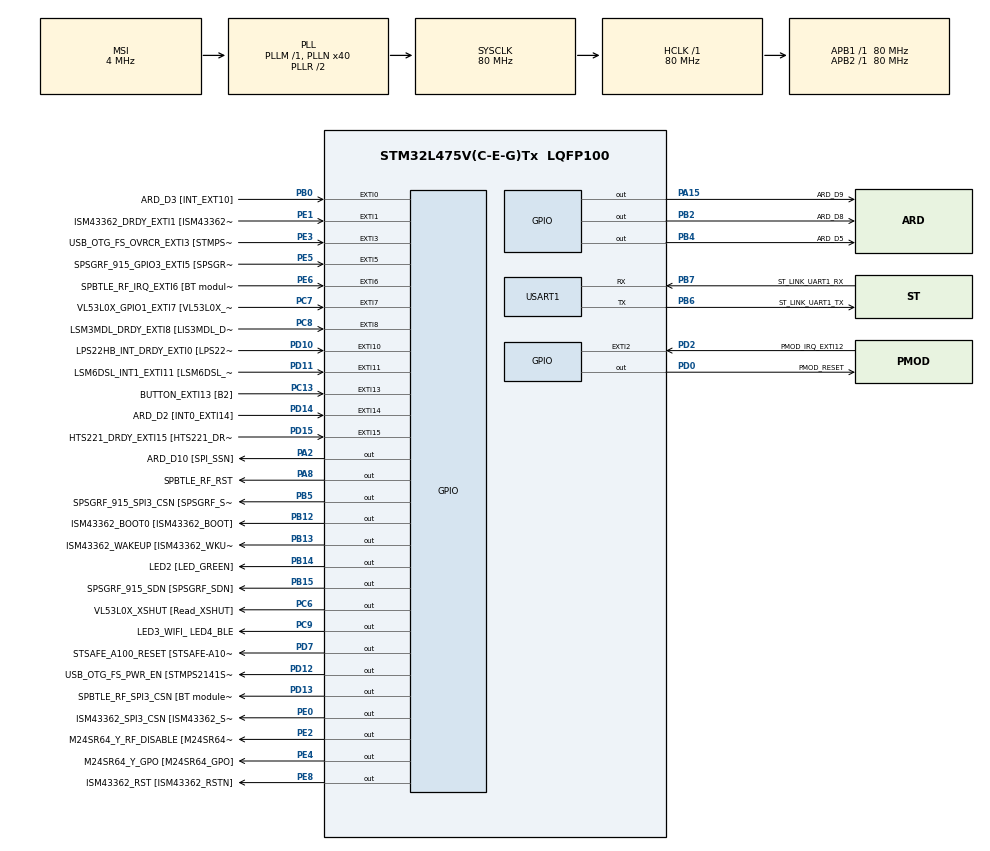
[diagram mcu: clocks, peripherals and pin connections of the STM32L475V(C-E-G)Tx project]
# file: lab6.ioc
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ADC1.Channel-0\#ChannelRegularConversion=ADC_CHANNEL_TEMPSENSOR
ADC1.ExternalTrigConv=ADC_EXTERNALTRIG_T1_TRGO
ADC1.NbrOfConversionFlag=1
ADC1.OffsetNumber-0\#ChannelRegularConversion=ADC_OFFSET_NONE
ADC1.Overrun=ADC_OVR_DATA_OVERWRITTEN
ADC1.Rank-0\#ChannelRegularConversion=1
ADC1.SamplingTime-0\#ChannelRegularConversion=ADC_SAMPLETIME_247CYCLES_5
ADC1.master=1
FREERTOS.Queues01=tempQueue,8,uint16_t,0,Dynamic,NULL,NULL
FREERTOS.Tasks01=TempTask,24,512,StartTempTask,Default,NULL,Dynamic,NULL,NULL
FREERTOS.configUSE_NEWLIB_REENTRANT=1
Mcu.Family=STM32L4
Mcu.Name=STM32L475V(C-E-G)Tx
Mcu.Package=LQFP100
NVIC.ADC1_2_IRQn=true\:5\:0\:false\:false\:true\:true\:true\:true\:true
NVIC.EXTI15_10_IRQn=true\:5\:0\:false\:false\:true\:true\:true\:true\:true
NVIC.EXTI9_5_IRQn=true\:5\:0\:false\:false\:true\:true\:true\:true\:true
NVIC.PriorityGroup=NVIC_PRIORITYGROUP_4
NVIC.TIM6_DAC_IRQn=true\:15\:0\:false\:false\:true\:false\:false\:true\:true
NVIC.TimeBase=TIM6_DAC_IRQn
NVIC.TimeBaseIP=TIM6
NVIC.USART1_IRQn=true\:5\:0\:false\:false\:true\:true\:true\:true\:true
PA0.GPIO_Label=ARD_D1 [UART4_TX]
PA0.Signal=UART4_TX
PA1.GPIO_Label=ARD_D0 [UART4_RX]
PA1.Signal=UART4_RX
PA10.GPIO_Label=USB_OTG_FS_ID
PA10.Signal=USB_OTG_FS_ID
PA11.GPIO_Label=USB_OTG_FS_DM
PA11.Signal=USB_OTG_FS_DM
PA12.GPIO_Label=USB_OTG_FS_DP
PA12.Signal=USB_OTG_FS_DP
PA13\ (JTMS-SWDIO).GPIO_Label=SYS_JTMS_SWDIO
PA13\ (JTMS-SWDIO).Mode=Serial_Wire
PA13\ (JTMS-SWDIO).Signal=SYS_JTMS-SWDIO
PA14\ (JTCK-SWCLK).GPIO_Label=SYS_JTCK_SWCLK
PA14\ (JTCK-SWCLK).Mode=Serial_Wire
PA14\ (JTCK-SWCLK).Signal=SYS_JTCK-SWCLK
PA15\ (JTDI).GPIO_Label=ARD_D9
PA15\ (JTDI).Signal=GPIO_Output
PA2.GPIO_Label=ARD_D10 [SPI_SSN]
PA2.Signal=GPIO_Output
PA3.GPIO_Label=ARD_D4
PA3.Signal=S_TIM2_CH4
PA4.GPIO_Label=ARD_D7
PA4.Signal=ADCx_IN9
PA5.GPIO_Label=ARD_D13 [SPI1_SCK]
PA5.Signal=SPI1_SCK
PA6.GPIO_Label=ARD_D12 [SPI1_MISO]
PA6.Signal=SPI1_MISO
PA7.GPIO_Label=ARD_D11 [SPI1_MOSI]
PA7.Signal=SPI1_MOSI
PA8.GPIO_Label=SPBTLE_RF_RST
PA8.Signal=GPIO_Output
PA9.GPIO_Label=USB_OTG_FS_VBUS [STMPS2141STR_OUT]
PA9.Signal=USB_OTG_FS_VBUS
PB0.GPIO_Label=ARD_D3 [INT_EXT10]
PB0.Signal=GPXTI0
PB1.GPIO_Label=ARD_D6 [ADC1_IN6]
PB1.Signal=ADCx_IN16
PB10.GPIO_Label=INTERNAL_I2C2_SCL [VL53L0X_SCL]
PB10.Signal=I2C2_SCL
PB11.GPIO_Label=INTERNAL_I2C2_SDA [VL53L0X_SDA]
PB11.Signal=I2C2_SDA
PB12.GPIO_Label=ISM43362_BOOT0 [ISM43362_BOOT]
PB12.Signal=GPIO_Output
PB13.GPIO_Label=ISM43362_WAKEUP [ISM43362_WKUP]
PB13.Signal=GPIO_Output
PB14.GPIO_Label=LED2 [LED_GREEN]
PB14.Signal=GPIO_Output
PB15.GPIO_Label=SPSGRF_915_SDN [SPSGRF_SDN]
PB15.Signal=GPIO_Output
PB2.GPIO_Label=ARD_D8
PB2.Signal=GPIO_Output
PB3\ (JTDO-TRACESWO).GPIO_Label=SYS_JTD0_SWO
PB3\ (JTDO-TRACESWO).Signal=SYS_JTDO-SWO
PB4\ (NJTRST).GPIO_Label=ARD_D5
PB4\ (NJTRST).Signal=GPIO_Output
PB5.GPIO_Label=SPSGRF_915_SPI3_CSN [SPSGRF_SPI_CS]
PB5.PinState=GPIO_PIN_SET
PB5.Signal=GPIO_Output
PB6.GPIO_Label=ST_LINK_UART1_TX
PB6.Mode=Asynchronous
PB6.Signal=USART1_TX
PB7.GPIO_Label=ST_LINK_UART1_RX
PB7.Mode=Asynchronous
PB7.Signal=USART1_RX
PB8.GPIO_Label=ARD_D15 [I2C1_SCL]
PB8.Signal=I2C1_SCL
PB9.GPIO_Label=ARD_D14 [I2C1_SDA]
PB9.Signal=I2C1_SDA
PC0.GPIO_Label=ARD_A5 [ADC]
PC0.Signal=ADCx_IN1
PC1.GPIO_Label=ARD_A4 [ADC]
PC1.Signal=ADCx_IN2
PC10.GPIO_Label=INTERNAL_SPI3_SCK [BT module_SPI_SCLK] [ISM43362_SCK]
PC10.Signal=SPI3_SCK
PC11.GPIO_Label=INTERNAL_SPI3_MISO [BT module_SPI_MISO] [ISM43362_MISO]
PC11.Signal=SPI3_MISO
PC12.GPIO_Label=INTERNAL_SPI3_MOSI [BT module_SPI_MOSI] [ISM43362_MOSI]
PC12.Signal=SPI3_MOSI
PC13.GPIO_Label=BUTTON_EXTI13 [B2]
PC13.GPIO_ModeDefaultEXTI=GPIO_MODE_IT_FALLING
PC13.Signal=GPXTI13
PC14-OSC32_IN\ (PC14).Signal=RCC_OSC32_IN
PC15-OSC32_OUT\ (PC15).Signal=RCC_OSC32_OUT
PC2.GPIO_Label=ARD_A3 [ADC]
PC2.Signal=ADCx_IN3
PC3.GPIO_Label=ARD_A2 [ADC]
PC3.Signal=ADCx_IN4
PC4.GPIO_Label=ARD_A1 [ADC]
PC4.Signal=ADCx_IN13
PC5.GPIO_Label=ARD_A0 [ADC]
PC5.Signal=ADCx_IN14
PC6.GPIO_Label=VL53L0X_XSHUT [Read_XSHUT]
PC6.Signal=GPIO_Output
PC7.GPIO_Label=VL53L0X_GPIO1_EXTI7 [VL53L0X_GPIO1]
PC7.Signal=GPXTI7
PC8.GPIO_Label=LSM3MDL_DRDY_EXTI8 [LIS3MDL_DRDY]
PC8.Signal=GPXTI8
PC9.GPIO_Label=LED3_WIFI_ LED4_BLE
PC9.Signal=GPIO_Output
PD0.GPIO_Label=PMOD_RESET
PD0.Signal=GPIO_Output
PD1.GPIO_Label=PMOD_SPI2_SCK
PD1.Signal=SPI2_SCK
PD10.GPIO_Label=LPS22HB_INT_DRDY_EXTI0 [LPS22HB_INT_DRDY] 
PD10.Signal=GPXTI10
PD11.GPIO_Label=LSM6DSL_INT1_EXTI11 [LSM6DSL_INT1]
PD11.Signal=GPXTI11
PD12.GPIO_Label=USB_OTG_FS_PWR_EN [STMPS2141STR_EN]
PD12.Signal=GPIO_Output
PD13.GPIO_Label=SPBTLE_RF_SPI3_CSN [BT module_SPI_CS]
PD13.PinState=GPIO_PIN_SET
PD13.Signal=GPIO_Output
PD14.GPIO_Label=ARD_D2 [INT0_EXTI14]
PD14.Signal=GPXTI14
PD15.GPIO_Label=HTS221_DRDY_EXTI15 [HTS221_DRDY]
PD15.Signal=GPXTI15
PD2.GPIO_Label=PMOD_IRQ_EXTI12
PD2.Signal=GPXTI2
PD3.GPIO_Label=PMOD_UART2_CTS
PD3.Signal=USART2_CTS
PD4.GPIO_Label=PMOD_UART2_RTS
PD4.Signal=USART2_RTS
PD5.GPIO_Label=PMOD_UART2_TX
PD5.Signal=USART2_TX
PD6.GPIO_Label=PMOD_UART2_RX
PD6.Signal=USART2_RX
PD7.GPIO_Label=STSAFE_A100_RESET [STSAFE-A100_RESET]
PD7.Signal=GPIO_Output
PD8.GPIO_Label=INTERNAL_UART3_TX [ISM43362_RX]
PD8.Signal=USART3_TX
PD9.GPIO_Label=INTERNAL_UART3_RX [ISM43362_TX]
PD9.Signal=USART3_RX
PE0.GPIO_Label=ISM43362_SPI3_CSN [ISM43362_SSN]
PE0.PinState=GPIO_PIN_SET
PE0.Signal=GPIO_Output
PE1.GPIO_Label=ISM43362_DRDY_EXTI1 [ISM43362_DATARDY]
PE1.Signal=GPXTI1
PE10.GPIO_Label=QUADSPI_CLK [MX25R6435F_SCLK]
PE10.Signal=QUADSPI_CLK
PE11.GPIO_Label=QUADSPI_NCS [MX25R6435F_SCLK]
PE11.Signal=QUADSPI_NCS
PE12.GPIO_Label=OQUADSPI_BK1_IO0 [MX25R6435F_IO0]
PE12.Signal=QUADSPI_BK1_IO0
PE13.GPIO_Label=QUADSPI_BK1_IO1 [MX25R6435F_IO1]
PE13.Signal=QUADSPI_BK1_IO1
PE14.GPIO_Label=QUAD_SPI_BK1_IO2 [MX25R6435F_IO2]
PE14.Signal=QUADSPI_BK1_IO2
PE15.GPIO_Label=QUAD_SPI_BK1_IO3 [MX25R6435F_IO3]
PE15.Signal=QUADSPI_BK1_IO3
PE2.GPIO_Label=M24SR64_Y_RF_DISABLE [M24SR64_RFDIS]
PE2.Signal=GPIO_Output
PE3.GPIO_Label=USB_OTG_FS_OVRCR_EXTI3 [STMPS2141STR_FAULT]
PE3.Signal=GPXTI3
PE4.GPIO_Label=M24SR64_Y_GPO [M24SR64_GPO]
PE4.Signal=GPIO_Output
PE5.GPIO_Label=SPSGRF_915_GPIO3_EXTI5 [SPSGRF_GPIO_3]
PE5.Signal=GPXTI5
PE6.GPIO_Label=SPBTLE_RF_IRQ_EXTI6 [BT module_SPI_IRQ]
PE6.Signal=GPXTI6
PE7.GPIO_Label=DFSDM1_DATIN2 [MP34DT01_DOUT]
PE7.Signal=S_DATAIN2DFSDM1
PE8.GPIO_Label=ISM43362_RST [ISM43362_RSTN]
PE8.Signal=GPIO_Output
PE9.GPIO_Label=DFSDM1_CKOUT [MP34DT01_CLK]
PE9.Signal=S_CKOUTDFSDM1
ProjectManager.HeapSize=0x200
ProjectManager.StackSize=0x400
ProjectManager.TargetToolchain=STM32CubeIDE
RCC.ADCFreq_Value=48000000
RCC.AHBFreq_Value=80000000
RCC.APB1Freq_Value=80000000
RCC.APB1TimFreq_Value=80000000
RCC.APB2Freq_Value=80000000
RCC.APB2TimFreq_Value=80000000
RCC.CortexFreq_Value=80000000
RCC.HCLKFreq_Value=80000000
RCC.HSE_VALUE=8000000
RCC.HSI_VALUE=16000000
RCC.LSE_VALUE=32768
RCC.MSI_VALUE=4000000
RCC.PLLN=40
RCC.PLLSAI1N=24
RCC.SYSCLKFreq_VALUE=80000000
RCC.SYSCLKSource=RCC_SYSCLKSOURCE_PLLCLK
RCC.USBFreq_Value=48000000
RCC.VCOOutputFreq_Value=160000000
SH.ADCx_IN1.0=ADC1_IN1
SH.ADCx_IN13.0=ADC1_IN13
SH.ADCx_IN14.0=ADC1_IN14
SH.ADCx_IN16.0=ADC1_IN16
SH.ADCx_IN2.0=ADC1_IN2
SH.ADCx_IN3.0=ADC1_IN3
SH.ADCx_IN4.0=ADC1_IN4
SH.ADCx_IN9.0=ADC1_IN9
SH.S_CKOUTDFSDM1.0=DFSDM1_CKOUT
SH.S_DATAIN2DFSDM1.0=DFSDM1_DATIN2
SH.S_TIM2_CH4.0=TIM2_CH4
TIM1.Period=39999
TIM1.Prescaler=1999
TIM1.TIM_MasterOutputTrigger=TIM_TRGO_UPDATE
TIM1.TIM_MasterOutputTrigger2=TIM_TRGO2_UPDATE
USART1.VirtualMode-Asynchronous=VM_ASYNC
VP_ADC1_TempSens_Input.Mode=IN-TempSens
VP_FREERTOS_VS_CMSIS_V2.Mode=CMSIS_V2
VP_SYS_VS_tim6.Mode=TIM6
VP_TIM1_VS_ClockSourceINT.Mode=Internal
board=B-L475E-IOT01A1

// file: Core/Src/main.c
/* USER CODE BEGIN Header */
/**
  ******************************************************************************
  * @file           : main.c
  * @brief          : Main program body
  ******************************************************************************
  * @attention
  *
  * Copyright (c) 2026 STMicroelectronics.
  * All rights reserved.
  *
  * This software is licensed under terms that can be found in the LICENSE file
  * in the root directory of this software component.
  * If no LICENSE file comes with this software, it is provided AS-IS.
  *
  ******************************************************************************
  */
/* USER CODE END Header */
#include "main.h"
#include "cmsis_os.h"

/* USER CODE BEGIN Includes */
#include <stdio.h>
/* USER CODE END Includes */

ADC_HandleTypeDef hadc1;

TIM_HandleTypeDef htim1;

UART_HandleTypeDef huart1;

/* Definitions for TempTask */
osThreadId_t TempTaskHandle;
const osThreadAttr_t TempTask_attributes = {
  .name = "TempTask",
  .stack_size = 512 * 4,
  .priority = (osPriority_t) osPriorityNormal,
};
/* Definitions for tempQueue */
osMessageQueueId_t tempQueueHandle;
const osMessageQueueAttr_t tempQueue_attributes = {
  .name = "tempQueue"
};

void SystemClock_Config(void);
static void MX_GPIO_Init(void);
static void MX_ADC1_Init(void);
static void MX_TIM1_Init(void);
static void MX_USART1_UART_Init(void);
void StartTempTask(void *argument);

/* USER CODE BEGIN 0 */
int __io_putchar(int ch) {
	HAL_UART_Transmit(&huart1, (uint8_t*)&ch, 1, HAL_MAX_DELAY);
	return ch;
}
/* USER CODE END 0 */

int main(void)
{

  /* MCU Configuration--------------------------------------------------------*/

  /* Reset of all peripherals, Initializes the Flash interface and the Systick. */
  HAL_Init();

  /* Configure the system clock */
  SystemClock_Config();

  /* Initialize all configured peripherals */
  MX_GPIO_Init();
  MX_ADC1_Init();
  MX_TIM1_Init();
  MX_USART1_UART_Init();

  /* Init scheduler */
  osKernelInitialize();

  /* Create the queue(s) */
  /* creation of tempQueue */
  tempQueueHandle = osMessageQueueNew (8, sizeof(uint16_t), &tempQueue_attributes);

  /* Create the thread(s) */
  /* creation of TempTask */
  TempTaskHandle = osThreadNew(StartTempTask, NULL, &TempTask_attributes);

  /* Start scheduler */
  osKernelStart();

  /* We should never get here as control is now taken by the scheduler */

  /* Infinite loop */
  while (1)
  {

  }
}

void SystemClock_Config(void)
{
  RCC_OscInitTypeDef RCC_OscInitStruct = {0};
  RCC_ClkInitTypeDef RCC_ClkInitStruct = {0};

  /** Configure the main internal regulator output voltage
  */
  if (HAL_PWREx_ControlVoltageScaling(PWR_REGULATOR_VOLTAGE_SCALE1) != HAL_OK)
  {
    Error_Handler();
  }

  /** Initializes the RCC Oscillators according to the specified parameters
  * in the RCC_OscInitTypeDef structure.
  */
  RCC_OscInitStruct.OscillatorType = RCC_OSCILLATORTYPE_MSI;
  RCC_OscInitStruct.MSIState = RCC_MSI_ON;
  RCC_OscInitStruct.MSICalibrationValue = 0;
  RCC_OscInitStruct.MSIClockRange = RCC_MSIRANGE_6;
  RCC_OscInitStruct.PLL.PLLState = RCC_PLL_ON;
  RCC_OscInitStruct.PLL.PLLSource = RCC_PLLSOURCE_MSI;
  RCC_OscInitStruct.PLL.PLLM = 1;
  RCC_OscInitStruct.PLL.PLLN = 40;
  RCC_OscInitStruct.PLL.PLLP = RCC_PLLP_DIV7;
  RCC_OscInitStruct.PLL.PLLQ = RCC_PLLQ_DIV2;
  RCC_OscInitStruct.PLL.PLLR = RCC_PLLR_DIV2;
  if (HAL_RCC_OscConfig(&RCC_OscInitStruct) != HAL_OK)
  {
    Error_Handler();
  }

  /** Initializes the CPU, AHB and APB buses clocks
  */
  RCC_ClkInitStruct.ClockType = RCC_CLOCKTYPE_HCLK|RCC_CLOCKTYPE_SYSCLK
                              |RCC_CLOCKTYPE_PCLK1|RCC_CLOCKTYPE_PCLK2;
  RCC_ClkInitStruct.SYSCLKSource = RCC_SYSCLKSOURCE_PLLCLK;
  RCC_ClkInitStruct.AHBCLKDivider = RCC_SYSCLK_DIV1;
  RCC_ClkInitStruct.APB1CLKDivider = RCC_HCLK_DIV1;
  RCC_ClkInitStruct.APB2CLKDivider = RCC_HCLK_DIV1;

  if (HAL_RCC_ClockConfig(&RCC_ClkInitStruct, FLASH_LATENCY_4) != HAL_OK)
  {
    Error_Handler();
  }
}

static void MX_ADC1_Init(void)
{

  ADC_MultiModeTypeDef multimode = {0};
  ADC_ChannelConfTypeDef sConfig = {0};

  /** Common config
  */
  hadc1.Instance = ADC1;
  hadc1.Init.ClockPrescaler = ADC_CLOCK_ASYNC_DIV1;
  hadc1.Init.Resolution = ADC_RESOLUTION_12B;
  hadc1.Init.DataAlign = ADC_DATAALIGN_RIGHT;
  hadc1.Init.ScanConvMode = ADC_SCAN_DISABLE;
  hadc1.Init.EOCSelection = ADC_EOC_SINGLE_CONV;
  hadc1.Init.LowPowerAutoWait = DISABLE;
  hadc1.Init.ContinuousConvMode = DISABLE;
  hadc1.Init.NbrOfConversion = 1;
  hadc1.Init.DiscontinuousConvMode = DISABLE;
  hadc1.Init.ExternalTrigConv = ADC_EXTERNALTRIG_T1_TRGO;
  hadc1.Init.ExternalTrigConvEdge = ADC_EXTERNALTRIGCONVEDGE_RISING;
  hadc1.Init.DMAContinuousRequests = DISABLE;
  hadc1.Init.Overrun = ADC_OVR_DATA_OVERWRITTEN;
  hadc1.Init.OversamplingMode = DISABLE;
  if (HAL_ADC_Init(&hadc1) != HAL_OK)
  {
    Error_Handler();
  }

  /** Configure the ADC multi-mode
  */
  multimode.Mode = ADC_MODE_INDEPENDENT;
  if (HAL_ADCEx_MultiModeConfigChannel(&hadc1, &multimode) != HAL_OK)
  {
    Error_Handler();
  }

  /** Configure Regular Channel
  */
  sConfig.Channel = ADC_CHANNEL_TEMPSENSOR;
  sConfig.Rank = ADC_REGULAR_RANK_1;
  sConfig.SamplingTime = ADC_SAMPLETIME_247CYCLES_5;
  sConfig.SingleDiff = ADC_SINGLE_ENDED;
  sConfig.OffsetNumber = ADC_OFFSET_NONE;
  sConfig.Offset = 0;
  if (HAL_ADC_ConfigChannel(&hadc1, &sConfig) != HAL_OK)
  {
    Error_Handler();
  }

}

static void MX_TIM1_Init(void)
{

  TIM_ClockConfigTypeDef sClockSourceConfig = {0};
  TIM_MasterConfigTypeDef sMasterConfig = {0};

  htim1.Instance = TIM1;
  htim1.Init.Prescaler = 1999;
  htim1.Init.CounterMode = TIM_COUNTERMODE_UP;
  htim1.Init.Period = 39999;
  htim1.Init.ClockDivision = TIM_CLOCKDIVISION_DIV1;
  htim1.Init.RepetitionCounter = 0;
  htim1.Init.AutoReloadPreload = TIM_AUTORELOAD_PRELOAD_DISABLE;
  if (HAL_TIM_Base_Init(&htim1) != HAL_OK)
  {
    Error_Handler();
  }
  sClockSourceConfig.ClockSource = TIM_CLOCKSOURCE_INTERNAL;
  if (HAL_TIM_ConfigClockSource(&htim1, &sClockSourceConfig) != HAL_OK)
  {
    Error_Handler();
  }
  sMasterConfig.MasterOutputTrigger = TIM_TRGO_UPDATE;
  sMasterConfig.MasterOutputTrigger2 = TIM_TRGO2_UPDATE;
  sMasterConfig.MasterSlaveMode = TIM_MASTERSLAVEMODE_DISABLE;
  if (HAL_TIMEx_MasterConfigSynchronization(&htim1, &sMasterConfig) != HAL_OK)
  {
    Error_Handler();
  }

}

static void MX_USART1_UART_Init(void)
{

  huart1.Instance = USART1;
  huart1.Init.BaudRate = 115200;
  huart1.Init.WordLength = UART_WORDLENGTH_8B;
  huart1.Init.StopBits = UART_STOPBITS_1;
  huart1.Init.Parity = UART_PARITY_NONE;
  huart1.Init.Mode = UART_MODE_TX_RX;
  huart1.Init.HwFlowCtl = UART_HWCONTROL_NONE;
  huart1.Init.OverSampling = UART_OVERSAMPLING_16;
  huart1.Init.OneBitSampling = UART_ONE_BIT_SAMPLE_DISABLE;
  huart1.AdvancedInit.AdvFeatureInit = UART_ADVFEATURE_NO_INIT;
  if (HAL_UART_Init(&huart1) != HAL_OK)
  {
    Error_Handler();
  }

}

static void MX_GPIO_Init(void)
{
  GPIO_InitTypeDef GPIO_InitStruct = {0};

  /* GPIO Ports Clock Enable */
  __HAL_RCC_GPIOE_CLK_ENABLE();
  __HAL_RCC_GPIOC_CLK_ENABLE();
  __HAL_RCC_GPIOA_CLK_ENABLE();
  __HAL_RCC_GPIOB_CLK_ENABLE();
  __HAL_RCC_GPIOD_CLK_ENABLE();

  /*Configure GPIO pin Output Level */
  HAL_GPIO_WritePin(GPIOE, M24SR64_Y_RF_DISABLE_Pin|M24SR64_Y_GPO_Pin|ISM43362_RST_Pin, GPIO_PIN_RESET);

  /*Configure GPIO pin Output Level */
  HAL_GPIO_WritePin(GPIOA, ARD_D10_Pin|SPBTLE_RF_RST_Pin|ARD_D9_Pin, GPIO_PIN_RESET);

  /*Configure GPIO pin Output Level */
  HAL_GPIO_WritePin(GPIOB, ARD_D8_Pin|ISM43362_BOOT0_Pin|ISM43362_WAKEUP_Pin|LED2_Pin
                          |SPSGRF_915_SDN_Pin|ARD_D5_Pin, GPIO_PIN_RESET);

  /*Configure GPIO pin Output Level */
  HAL_GPIO_WritePin(GPIOD, USB_OTG_FS_PWR_EN_Pin|PMOD_RESET_Pin|STSAFE_A100_RESET_Pin, GPIO_PIN_RESET);

  /*Configure GPIO pin Output Level */
  HAL_GPIO_WritePin(SPBTLE_RF_SPI3_CSN_GPIO_Port, SPBTLE_RF_SPI3_CSN_Pin, GPIO_PIN_SET);

  /*Configure GPIO pin Output Level */
  HAL_GPIO_WritePin(GPIOC, VL53L0X_XSHUT_Pin|LED3_WIFI__LED4_BLE_Pin, GPIO_PIN_RESET);

  /*Configure GPIO pin Output Level */
  HAL_GPIO_WritePin(SPSGRF_915_SPI3_CSN_GPIO_Port, SPSGRF_915_SPI3_CSN_Pin, GPIO_PIN_SET);

  /*Configure GPIO pin Output Level */
  HAL_GPIO_WritePin(ISM43362_SPI3_CSN_GPIO_Port, ISM43362_SPI3_CSN_Pin, GPIO_PIN_SET);

  /*Configure GPIO pins : M24SR64_Y_RF_DISABLE_Pin M24SR64_Y_GPO_Pin ISM43362_RST_Pin ISM43362_SPI3_CSN_Pin */
  GPIO_InitStruct.Pin = M24SR64_Y_RF_DISABLE_Pin|M24SR64_Y_GPO_Pin|ISM43362_RST_Pin|ISM43362_SPI3_CSN_Pin;
  GPIO_InitStruct.Mode = GPIO_MODE_OUTPUT_PP;
  GPIO_InitStruct.Pull = GPIO_NOPULL;
  GPIO_InitStruct.Speed = GPIO_SPEED_FREQ_LOW;
  HAL_GPIO_Init(GPIOE, &GPIO_InitStruct);

  /*Configure GPIO pins : USB_OTG_FS_OVRCR_EXTI3_Pin SPSGRF_915_GPIO3_EXTI5_Pin SPBTLE_RF_IRQ_EXTI6_Pin ISM43362_DRDY_EXTI1_Pin */
  GPIO_InitStruct.Pin = USB_OTG_FS_OVRCR_EXTI3_Pin|SPSGRF_915_GPIO3_EXTI5_Pin|SPBTLE_RF_IRQ_EXTI6_Pin|ISM43362_DRDY_EXTI1_Pin;
  GPIO_InitStruct.Mode = GPIO_MODE_IT_RISING;
  GPIO_InitStruct.Pull = GPIO_NOPULL;
  HAL_GPIO_Init(GPIOE, &GPIO_InitStruct);

  /*Configure GPIO pin : BUTTON_EXTI13_Pin */
  GPIO_InitStruct.Pin = BUTTON_EXTI13_Pin;
  GPIO_InitStruct.Mode = GPIO_MODE_IT_FALLING;
  GPIO_InitStruct.Pull = GPIO_NOPULL;
  HAL_GPIO_Init(BUTTON_EXTI13_GPIO_Port, &GPIO_InitStruct);

  /*Configure GPIO pins : ARD_D1_Pin ARD_D0_Pin */
  GPIO_InitStruct.Pin = ARD_D1_Pin|ARD_D0_Pin;
  GPIO_InitStruct.Mode = GPIO_MODE_AF_PP;
  GPIO_InitStruct.Pull = GPIO_NOPULL;
  GPIO_InitStruct.Speed = GPIO_SPEED_FREQ_VERY_HIGH;
  GPIO_InitStruct.Alternate = GPIO_AF8_UART4;
  HAL_GPIO_Init(GPIOA, &GPIO_InitStruct);

  /*Configure GPIO pins : ARD_D10_Pin SPBTLE_RF_RST_Pin ARD_D9_Pin */
  GPIO_InitStruct.Pin = ARD_D10_Pin|SPBTLE_RF_RST_Pin|ARD_D9_Pin;
  GPIO_InitStruct.Mode = GPIO_MODE_OUTPUT_PP;
  GPIO_InitStruct.Pull = GPIO_NOPULL;
  GPIO_InitStruct.Speed = GPIO_SPEED_FREQ_LOW;
  HAL_GPIO_Init(GPIOA, &GPIO_InitStruct);

  /*Configure GPIO pin : ARD_D4_Pin */
  GPIO_InitStruct.Pin = ARD_D4_Pin;
  GPIO_InitStruct.Mode = GPIO_MODE_AF_PP;
  GPIO_InitStruct.Pull = GPIO_NOPULL;
  GPIO_InitStruct.Speed = GPIO_SPEED_FREQ_LOW;
  GPIO_InitStruct.Alternate = GPIO_AF1_TIM2;
  HAL_GPIO_Init(ARD_D4_GPIO_Port, &GPIO_InitStruct);

  /*Configure GPIO pins : ARD_D13_Pin ARD_D12_Pin ARD_D11_Pin */
  GPIO_InitStruct.Pin = ARD_D13_Pin|ARD_D12_Pin|ARD_D11_Pin;
  GPIO_InitStruct.Mode = GPIO_MODE_AF_PP;
  GPIO_InitStruct.Pull = GPIO_NOPULL;
  GPIO_InitStruct.Speed = GPIO_SPEED_FREQ_VERY_HIGH;
  GPIO_InitStruct.Alternate = GPIO_AF5_SPI1;
  HAL_GPIO_Init(GPIOA, &GPIO_InitStruct);

  /*Configure GPIO pin : ARD_D3_Pin */
  GPIO_InitStruct.Pin = ARD_D3_Pin;
  GPIO_InitStruct.Mode = GPIO_MODE_IT_RISING;
  GPIO_InitStruct.Pull = GPIO_NOPULL;
  HAL_GPIO_Init(ARD_D3_GPIO_Port, &GPIO_InitStruct);

  /*Configure GPIO pins : ARD_D8_Pin ISM43362_BOOT0_Pin ISM43362_WAKEUP_Pin LED2_Pin
                           SPSGRF_915_SDN_Pin ARD_D5_Pin SPSGRF_915_SPI3_CSN_Pin */
  GPIO_InitStruct.Pin = ARD_D8_Pin|ISM43362_BOOT0_Pin|ISM43362_WAKEUP_Pin|LED2_Pin
                          |SPSGRF_915_SDN_Pin|ARD_D5_Pin|SPSGRF_915_SPI3_CSN_Pin;
  GPIO_InitStruct.Mode = GPIO_MODE_OUTPUT_PP;
  GPIO_InitStruct.Pull = GPIO_NOPULL;
  GPIO_InitStruct.Speed = GPIO_SPEED_FREQ_LOW;
  HAL_GPIO_Init(GPIOB, &GPIO_InitStruct);

  /*Configure GPIO pins : DFSDM1_DATIN2_Pin DFSDM1_CKOUT_Pin */
  GPIO_InitStruct.Pin = DFSDM1_DATIN2_Pin|DFSDM1_CKOUT_Pin;
  GPIO_InitStruct.Mode = GPIO_MODE_AF_PP;
  GPIO_InitStruct.Pull = GPIO_NOPULL;
  GPIO_InitStruct.Speed = GPIO_SPEED_FREQ_LOW;
  GPIO_InitStruct.Alternate = GPIO_AF6_DFSDM1;
  HAL_GPIO_Init(GPIOE, &GPIO_InitStruct);

  /*Configure GPIO pins : QUADSPI_CLK_Pin QUADSPI_NCS_Pin OQUADSPI_BK1_IO0_Pin QUADSPI_BK1_IO1_Pin
                           QUAD_SPI_BK1_IO2_Pin QUAD_SPI_BK1_IO3_Pin */
  GPIO_InitStruct.Pin = QUADSPI_CLK_Pin|QUADSPI_NCS_Pin|OQUADSPI_BK1_IO0_Pin|QUADSPI_BK1_IO1_Pin
                          |QUAD_SPI_BK1_IO2_Pin|QUAD_SPI_BK1_IO3_Pin;
  GPIO_InitStruct.Mode = GPIO_MODE_AF_PP;
  GPIO_InitStruct.Pull = GPIO_NOPULL;
  GPIO_InitStruct.Speed = GPIO_SPEED_FREQ_VERY_HIGH;
  GPIO_InitStruct.Alternate = GPIO_AF10_QUADSPI;
  HAL_GPIO_Init(GPIOE, &GPIO_InitStruct);

  /*Configure GPIO pins : INTERNAL_I2C2_SCL_Pin INTERNAL_I2C2_SDA_Pin */
  GPIO_InitStruct.Pin = INTERNAL_I2C2_SCL_Pin|INTERNAL_I2C2_SDA_Pin;
  GPIO_InitStruct.Mode = GPIO_MODE_AF_OD;
  GPIO_InitStruct.Pull = GPIO_NOPULL;
  GPIO_InitStruct.Speed = GPIO_SPEED_FREQ_VERY_HIGH;
  GPIO_InitStruct.Alternate = GPIO_AF4_I2C2;
  HAL_GPIO_Init(GPIOB, &GPIO_InitStruct);

  /*Configure GPIO pins : INTERNAL_UART3_TX_Pin INTERNAL_UART3_RX_Pin */
  GPIO_InitStruct.Pin = INTERNAL_UART3_TX_Pin|INTERNAL_UART3_RX_Pin;
  GPIO_InitStruct.Mode = GPIO_MODE_AF_PP;
  GPIO_InitStruct.Pull = GPIO_NOPULL;
  GPIO_InitStruct.Speed = GPIO_SPEED_FREQ_VERY_HIGH;
  GPIO_InitStruct.Alternate = GPIO_AF7_USART3;
  HAL_GPIO_Init(GPIOD, &GPIO_InitStruct);

  /*Configure GPIO pins : LPS22HB_INT_DRDY_EXTI0_Pin LSM6DSL_INT1_EXTI11_Pin ARD_D2_Pin HTS221_DRDY_EXTI15_Pin
                           PMOD_IRQ_EXTI12_Pin */
  GPIO_InitStruct.Pin = LPS22HB_INT_DRDY_EXTI0_Pin|LSM6DSL_INT1_EXTI11_Pin|ARD_D2_Pin|HTS221_DRDY_EXTI15_Pin
                          |PMOD_IRQ_EXTI12_Pin;
  GPIO_InitStruct.Mode = GPIO_MODE_IT_RISING;
  GPIO_InitStruct.Pull = GPIO_NOPULL;
  HAL_GPIO_Init(GPIOD, &GPIO_InitStruct);

  /*Configure GPIO pins : USB_OTG_FS_PWR_EN_Pin SPBTLE_RF_SPI3_CSN_Pin PMOD_RESET_Pin STSAFE_A100_RESET_Pin */
  GPIO_InitStruct.Pin = USB_OTG_FS_PWR_EN_Pin|SPBTLE_RF_SPI3_CSN_Pin|PMOD_RESET_Pin|STSAFE_A100_RESET_Pin;
  GPIO_InitStruct.Mode = GPIO_MODE_OUTPUT_PP;
  GPIO_InitStruct.Pull = GPIO_NOPULL;
  GPIO_InitStruct.Speed = GPIO_SPEED_FREQ_LOW;
  HAL_GPIO_Init(GPIOD, &GPIO_InitStruct);

  /*Configure GPIO pins : VL53L0X_XSHUT_Pin LED3_WIFI__LED4_BLE_Pin */
  GPIO_InitStruct.Pin = VL53L0X_XSHUT_Pin|LED3_WIFI__LED4_BLE_Pin;
  GPIO_InitStruct.Mode = GPIO_MODE_OUTPUT_PP;
  GPIO_InitStruct.Pull = GPIO_NOPULL;
  GPIO_InitStruct.Speed = GPIO_SPEED_FREQ_LOW;
  HAL_GPIO_Init(GPIOC, &GPIO_InitStruct);

  /*Configure GPIO pins : VL53L0X_GPIO1_EXTI7_Pin LSM3MDL_DRDY_EXTI8_Pin */
  GPIO_InitStruct.Pin = VL53L0X_GPIO1_EXTI7_Pin|LSM3MDL_DRDY_EXTI8_Pin;
  GPIO_InitStruct.Mode = GPIO_MODE_IT_RISING;
  GPIO_InitStruct.Pull = GPIO_NOPULL;
  HAL_GPIO_Init(GPIOC, &GPIO_InitStruct);

  /*Configure GPIO pin : USB_OTG_FS_VBUS_Pin */
  GPIO_InitStruct.Pin = USB_OTG_FS_VBUS_Pin;
  GPIO_InitStruct.Mode = GPIO_MODE_INPUT;
  GPIO_InitStruct.Pull = GPIO_NOPULL;
  HAL_GPIO_Init(USB_OTG_FS_VBUS_GPIO_Port, &GPIO_InitStruct);

  /*Configure GPIO pins : USB_OTG_FS_ID_Pin USB_OTG_FS_DM_Pin USB_OTG_FS_DP_Pin */
  GPIO_InitStruct.Pin = USB_OTG_FS_ID_Pin|USB_OTG_FS_DM_Pin|USB_OTG_FS_DP_Pin;
  GPIO_InitStruct.Mode = GPIO_MODE_AF_PP;
  GPIO_InitStruct.Pull = GPIO_NOPULL;
  GPIO_InitStruct.Speed = GPIO_SPEED_FREQ_VERY_HIGH;
  GPIO_InitStruct.Alternate = GPIO_AF10_OTG_FS;
  HAL_GPIO_Init(GPIOA, &GPIO_InitStruct);

  /*Configure GPIO pins : INTERNAL_SPI3_SCK_Pin INTERNAL_SPI3_MISO_Pin INTERNAL_SPI3_MOSI_Pin */
  GPIO_InitStruct.Pin = INTERNAL_SPI3_SCK_Pin|INTERNAL_SPI3_MISO_Pin|INTERNAL_SPI3_MOSI_Pin;
  GPIO_InitStruct.Mode = GPIO_MODE_AF_PP;
  GPIO_InitStruct.Pull = GPIO_NOPULL;
  GPIO_InitStruct.Speed = GPIO_SPEED_FREQ_VERY_HIGH;
  GPIO_InitStruct.Alternate = GPIO_AF6_SPI3;
  HAL_GPIO_Init(GPIOC, &GPIO_InitStruct);

  /*Configure GPIO pin : PMOD_SPI2_SCK_Pin */
  GPIO_InitStruct.Pin = PMOD_SPI2_SCK_Pin;
  GPIO_InitStruct.Mode = GPIO_MODE_AF_PP;
  GPIO_InitStruct.Pull = GPIO_NOPULL;
  GPIO_InitStruct.Speed = GPIO_SPEED_FREQ_VERY_HIGH;
  GPIO_InitStruct.Alternate = GPIO_AF5_SPI2;
  HAL_GPIO_Init(PMOD_SPI2_SCK_GPIO_Port, &GPIO_InitStruct);

  /*Configure GPIO pins : PMOD_UART2_CTS_Pin PMOD_UART2_RTS_Pin PMOD_UART2_TX_Pin PMOD_UART2_RX_Pin */
  GPIO_InitStruct.Pin = PMOD_UART2_CTS_Pin|PMOD_UART2_RTS_Pin|PMOD_UART2_TX_Pin|PMOD_UART2_RX_Pin;
  GPIO_InitStruct.Mode = GPIO_MODE_AF_PP;
  GPIO_InitStruct.Pull = GPIO_NOPULL;
  GPIO_InitStruct.Speed = GPIO_SPEED_FREQ_VERY_HIGH;
  GPIO_InitStruct.Alternate = GPIO_AF7_USART2;
  HAL_GPIO_Init(GPIOD, &GPIO_InitStruct);

  /*Configure GPIO pins : ARD_D15_Pin ARD_D14_Pin */
  GPIO_InitStruct.Pin = ARD_D15_Pin|ARD_D14_Pin;
  GPIO_InitStruct.Mode = GPIO_MODE_AF_OD;
  GPIO_InitStruct.Pull = GPIO_NOPULL;
  GPIO_InitStruct.Speed = GPIO_SPEED_FREQ_VERY_HIGH;
  GPIO_InitStruct.Alternate = GPIO_AF4_I2C1;
  HAL_GPIO_Init(GPIOB, &GPIO_InitStruct);

  /* EXTI interrupt init*/
  HAL_NVIC_SetPriority(EXTI9_5_IRQn, 5, 0);
  HAL_NVIC_EnableIRQ(EXTI9_5_IRQn);

  HAL_NVIC_SetPriority(EXTI15_10_IRQn, 5, 0);
  HAL_NVIC_EnableIRQ(EXTI15_10_IRQn);

}

/* USER CODE BEGIN 4 */
void HAL_ADC_ConvCpltCallback(ADC_HandleTypeDef *hadc) {
	if (hadc->Instance == ADC1) {
		uint16_t dr = HAL_ADC_GetValue(hadc);
		osMessageQueuePut(tempQueueHandle, &dr, 0, 0);
	}
}
/* USER CODE END 4 */

void StartTempTask(void *argument)
{
  /* USER CODE BEGIN 5 */
  HAL_ADCEx_Calibration_Start(&hadc1, ADC_SINGLE_ENDED);
  HAL_ADC_Start_IT(&hadc1);
  HAL_TIM_Base_Start(&htim1);

  uint16_t raw;
  int temp;
  /* Infinite loop */
  for(;;)
  {
	  osMessageQueueGet(tempQueueHandle, &raw, NULL, osWaitForever);
	  temp = __HAL_ADC_CALC_TEMPERATURE(3300, raw, ADC_RESOLUTION_12B);
	  printf("Tick %lu: raw=%u, temperature=%d\r\n", osKernelGetTickCount(), raw, temp);
  }
  /* USER CODE END 5 */
}

void HAL_TIM_PeriodElapsedCallback(TIM_HandleTypeDef *htim)
{
  if (htim->Instance == TIM6)
  {
    HAL_IncTick();
  }
}

void Error_Handler(void)
{
  __disable_irq();
  while (1)
  {
  }
}
